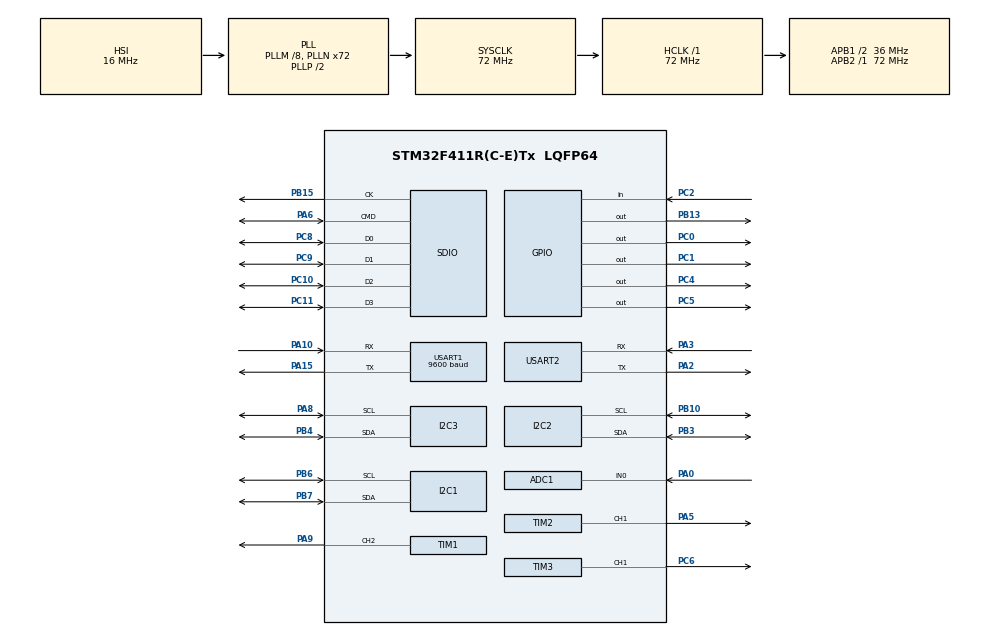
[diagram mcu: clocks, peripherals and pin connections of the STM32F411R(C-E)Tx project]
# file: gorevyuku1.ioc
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ADC1.Channel-0\#ChannelRegularConversion=ADC_CHANNEL_0
ADC1.ContinuousConvMode=ENABLE
ADC1.NbrOfConversionFlag=1
ADC1.Rank-0\#ChannelRegularConversion=1
ADC1.SamplingTime-0\#ChannelRegularConversion=ADC_SAMPLETIME_3CYCLES
ADC1.master=1
Dma.Request0=SDIO_RX
Dma.Request1=SDIO_TX
Dma.SDIO_RX.0.Direction=DMA_PERIPH_TO_MEMORY
Dma.SDIO_RX.0.FIFOMode=DMA_FIFOMODE_ENABLE
Dma.SDIO_RX.0.FIFOThreshold=DMA_FIFO_THRESHOLD_FULL
Dma.SDIO_RX.0.Instance=DMA2_Stream3
Dma.SDIO_RX.0.MemBurst=DMA_MBURST_INC4
Dma.SDIO_RX.0.MemDataAlignment=DMA_MDATAALIGN_WORD
Dma.SDIO_RX.0.MemInc=DMA_MINC_ENABLE
Dma.SDIO_RX.0.Mode=DMA_PFCTRL
Dma.SDIO_RX.0.PeriphBurst=DMA_PBURST_INC4
Dma.SDIO_RX.0.PeriphDataAlignment=DMA_PDATAALIGN_WORD
Dma.SDIO_RX.0.PeriphInc=DMA_PINC_DISABLE
Dma.SDIO_RX.0.Priority=DMA_PRIORITY_LOW
Dma.SDIO_TX.1.Direction=DMA_MEMORY_TO_PERIPH
Dma.SDIO_TX.1.FIFOMode=DMA_FIFOMODE_ENABLE
Dma.SDIO_TX.1.FIFOThreshold=DMA_FIFO_THRESHOLD_FULL
Dma.SDIO_TX.1.Instance=DMA2_Stream6
Dma.SDIO_TX.1.MemBurst=DMA_MBURST_INC4
Dma.SDIO_TX.1.MemDataAlignment=DMA_MDATAALIGN_WORD
Dma.SDIO_TX.1.MemInc=DMA_MINC_ENABLE
Dma.SDIO_TX.1.Mode=DMA_PFCTRL
Dma.SDIO_TX.1.PeriphBurst=DMA_PBURST_INC4
Dma.SDIO_TX.1.PeriphDataAlignment=DMA_PDATAALIGN_WORD
Dma.SDIO_TX.1.PeriphInc=DMA_PINC_DISABLE
Dma.SDIO_TX.1.Priority=DMA_PRIORITY_LOW
FATFS.USE_DMA_CODE_SD=1
FATFS._MAX_SS=4096
I2C1.I2C_Mode=I2C_Standard
I2C2.I2C_Mode=I2C_Standard
Mcu.Family=STM32F4
Mcu.Name=STM32F411R(C-E)Tx
Mcu.Package=LQFP64
NVIC.DMA2_Stream3_IRQn=true\:3\:3\:true\:false\:true\:false\:true\:true
NVIC.DMA2_Stream6_IRQn=true\:3\:3\:true\:false\:true\:false\:true\:true
NVIC.PriorityGroup=NVIC_PRIORITYGROUP_2
NVIC.SDIO_IRQn=true\:2\:2\:true\:false\:true\:true\:true\:true
NVIC.USART1_IRQn=true\:1\:1\:true\:false\:true\:true\:true\:true
NVIC.USART2_IRQn=true\:0\:0\:true\:false\:true\:true\:true\:true
PA0-WKUP.Signal=ADCx_IN0
PA10.Mode=Asynchronous
PA10.Signal=USART1_RX
PA13.Mode=Serial_Wire
PA13.Signal=SYS_JTMS-SWDIO
PA14.Mode=Serial_Wire
PA14.Signal=SYS_JTCK-SWCLK
PA15.Mode=Asynchronous
PA15.Signal=USART1_TX
PA2.Mode=Asynchronous
PA2.Signal=USART2_TX
PA3.Mode=Asynchronous
PA3.Signal=USART2_RX
PA5.Signal=S_TIM2_CH1_ETR
PA6.Mode=SD_4_bits_Wide_bus
PA6.Signal=SDIO_CMD
PA8.Mode=I2C
PA8.Signal=I2C3_SCL
PA9.Signal=S_TIM1_CH2
PB10.Mode=I2C
PB10.Signal=I2C2_SCL
PB13.Signal=GPIO_Output
PB15.Mode=SD_4_bits_Wide_bus
PB15.Signal=SDIO_CK
PB3.Mode=I2C
PB3.Signal=I2C2_SDA
PB4.Mode=I2C
PB4.Signal=I2C3_SDA
PB6.Mode=I2C
PB6.Signal=I2C1_SCL
PB7.Mode=I2C
PB7.Signal=I2C1_SDA
PC0.Signal=GPIO_Output
PC1.Signal=GPIO_Output
PC10.Mode=SD_4_bits_Wide_bus
PC10.Signal=SDIO_D2
PC11.Mode=SD_4_bits_Wide_bus
PC11.Signal=SDIO_D3
PC14-OSC32_IN.Mode=LSE-External-Oscillator
PC14-OSC32_IN.Signal=RCC_OSC32_IN
PC15-OSC32_OUT.Mode=LSE-External-Oscillator
PC15-OSC32_OUT.Signal=RCC_OSC32_OUT
PC2.Signal=GPIO_Input
PC4.Signal=GPIO_Output
PC5.Signal=GPIO_Output
PC6.Signal=S_TIM3_CH1
PC8.Mode=SD_4_bits_Wide_bus
PC8.Signal=SDIO_D0
PC9.Mode=SD_4_bits_Wide_bus
PC9.Signal=SDIO_D1
PH0\ -\ OSC_IN.Mode=HSE-External-Oscillator
PH0\ -\ OSC_IN.Signal=RCC_OSC_IN
PH1\ -\ OSC_OUT.Mode=HSE-External-Oscillator
PH1\ -\ OSC_OUT.Signal=RCC_OSC_OUT
ProjectManager.HeapSize=0x200
ProjectManager.StackSize=0x400
ProjectManager.TargetToolchain=STM32CubeIDE
RCC.48MHZClocksFreq_Value=48000000
RCC.AHBFreq_Value=72000000
RCC.APB1CLKDivider=RCC_HCLK_DIV2
RCC.APB1Freq_Value=36000000
RCC.APB1TimFreq_Value=72000000
RCC.APB2Freq_Value=72000000
RCC.APB2TimFreq_Value=72000000
RCC.CortexFreq_Value=72000000
RCC.HCLKFreq_Value=72000000
RCC.HSE_VALUE=25000000
RCC.HSI_VALUE=16000000
RCC.PLLM=8
RCC.PLLN=72
RCC.PLLQ=3
RCC.SYSCLKFreq_VALUE=72000000
RCC.SYSCLKSource=RCC_SYSCLKSOURCE_PLLCLK
RCC.VCOOutputFreq_Value=144000000
SH.ADCx_IN0.0=ADC1_IN0,IN0
SH.S_TIM1_CH2.0=TIM1_CH2,PWM Generation2 CH2
SH.S_TIM2_CH1_ETR.0=TIM2_CH1,PWM Generation1 CH1
SH.S_TIM3_CH1.0=TIM3_CH1,PWM Generation1 CH1
TIM1.Channel-PWM\ Generation2\ CH2=TIM_CHANNEL_2
TIM1.Period=1000-1
TIM1.Prescaler=1440-1
TIM2.Channel-PWM\ Generation1\ CH1=TIM_CHANNEL_1
TIM2.Period=1000-1
TIM2.Prescaler=1440-1
TIM3.Channel-PWM\ Generation1\ CH1=TIM_CHANNEL_1
TIM3.Period=100-1
TIM3.Prescaler=263-1
USART1.BaudRate=9600
USART1.VirtualMode=VM_ASYNC
USART2.VirtualMode=VM_ASYNC
VP_FATFS_VS_SDIO.Mode=SDIO
VP_TIM4_VS_ClockSourceINT.Mode=Internal
board=custom

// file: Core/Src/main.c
/* USER CODE BEGIN Header */
/**
 *
  ******************************************************************************
  * @file           : main.c
  * @brief          : Main program body
  ******************************************************************************
  @ATTENTION !
  * 	##Explains CubeMX Variables & IO
  *
  * 	--> ADC_HandleTypeDef hadc1;	 ==> It relates to the 	"SubSys_Sensor_Battery_Driver"
  *
  * 	--> I2C_HandleTypeDef hi2c1;   	 ==> It relates to the 	"SubSys_Sensor_TPGVH_Driver"
  * 	--> I2C_HandleTypeDef hi2c2;   	 ==> It relates to the 	"SubSys_Sensor_IMU_APP_Driver" & "SubSys_Sensor_IMU_STM32_Driver"
  *		--> I2C_HandleTypeDef hi2c3;   	 ==> It relates to the 	"SubSys_Sensor_RTC_Driver"
  *
  * 	--> SD_HandleTypeDef  hsd;	   	 ==> It relates to the 	"SubSys_SDcard_Driver"
  *		--> SDIO_CK frequency 			 ==> 48MHz fixed
  *
  * 	--> UART_HandleTypeDef huart1; 	 ==> It relates to the 	"SubSys_Sensor_GPS_Driver"
  *		--> UART_HandleTypeDef huart2; 	 ==> It relates to the 	"SubSys_WirelessCommunication_Setting_Driver" & "SubSys_WirelessCommunication_Telemetry_Driver"
  *
  *		--> TIM_HandleTypeDef htim1;  	 ==> It relates to the 	"SubSys_SeparationControl_Driver" 	& [(TIM_CHANNEL_2)]
  *		--> TIM_HandleTypeDef htim2;  	 ==> It relates to the 	"SubSys_ColorFilterControl_Driver" 	& [(TIM_CHANNEL_1)](Succes)
  *		--> TIM_HandleTypeDef htim3;  	 ==> It relates to the 	"SubSys_AlertControl_Driver" 		& [(TIM_CHANNEL_1)](Succes)
  *
  *		--> GPIO_TypeDef |PORT->B| -> |GPIO_PIN_13|			    ==>  (CAMERA SWITCH PIN)
  *
  *		--> GPIO_TypeDef |PORT->C| -> |GPIO_PIN_0|			    ==>  (GPS RST PIN)
  *								   -> |GPIO_PIN_1|&|GPIO_PIN_2| ==>  (IMU RST & INT PIN)
  *								   -> |GPIO_PIN_4|&|GPIO_PIN_5| ==>  (WirelessCom M0 & M1 CNFG PIN)
  *
  *		##Wireless Communication configuration parameters
  *
  *		Satellite Carrier Unit's adress will be 0x1923  and channel is 0x10
  *		Satellite Payload Unit's adress will be 0x1453  and channel is 0x05
  *		Satellite Ground Station adress will be 0x2023  and channel is 0x10
  *
  *
  *		##Clean Code explanation
  *		"The __CLOSED expression can be written at the end of the header guard.
  *		 If you remove this part, the related code will work and complied
  *
  *		 "The __notSuccessful , related part of the code didn't work or test
  *
  *		 Somewhere of the code has some variable that has '2' at end of the variable
  *		 as like "PAY_Pressure2", "PAY_VertHeight2".
  *		 that means these variable will be filled by Satellite's Carrier Unit
  *
  ******************************************************************************
  */
/* USER CODE END Header */
#include "main.h"
#include "fatfs.h"

/* USER CODE BEGIN Includes */
#include "SubSys_Sensor_TPGVH_Driver.h"
#include "SubSys_Sensor_Battery_Driver.h"
#include "SubSys_AlertControl_Driver.h"
#include "SubSys_SDcard_Driver.h"
#include "SubSys_Sensor_GPS_Driver.h"
#include "SubSys_WirelessCommunication_Setting_Driver.h"
#include "SubSys_WirelessCommunication_Telemetry_Driver.h"
#include "SubSys_WirelessCommunication_Telemetry_ExtractValue_Driver.h"
#include "SubSys_ARAS.h"
#include "SubSys_Sensor_RTC_Driver.h"

#include "SubSys_Actuator_Servo_Driver.h"
#include "SubSys_ColorFilterControl_Driver.h"
#include "SubSys_SeparationControl_Driver.h"

#include "SubSys_Sensor_IMU_APP_Driver.h"
#include "SubSys_Sensor_IMU_STM32_Driver.h"

#include "SubSys_Payload_FlightStatus.h"
#include "SubSys_Payload_PeriodicReattempt.h"

#include "SubSys_USART_ReceiveIT_CallBacks_Driver.h"

#include <stdlib.h>
#include <stdint.h>
/* USER CODE END Includes */

/* USER CODE BEGIN PD */
/*
	 ===============================================================================
	                      ##### DEFINITIONS #####
	 ===============================================================================
*/

	/**!
	 * Pressure Temperature Sensor (MS5611) Definitions
	 */
	#define MS5611_I2C_ADDRESS_H 0xEE		/*! CSB pin is HIGH */
	#define MS5611_I2C_ADDRESS_L 0xEC 		/*! CSB pin is LOW  */
/* USER CODE END PD */

ADC_HandleTypeDef hadc1;

I2C_HandleTypeDef hi2c1;
I2C_HandleTypeDef hi2c2;
I2C_HandleTypeDef hi2c3;

SD_HandleTypeDef hsd;
DMA_HandleTypeDef hdma_sdio_rx;
DMA_HandleTypeDef hdma_sdio_tx;

TIM_HandleTypeDef htim1;
TIM_HandleTypeDef htim2;
TIM_HandleTypeDef htim3;
TIM_HandleTypeDef htim4;

UART_HandleTypeDef huart1;
UART_HandleTypeDef huart2;

/* USER CODE BEGIN PV */
/*
	 ===============================================================================
	                      ##### MULTIPLE VARIABLE #####
	 ===============================================================================
*/

	/**!
	 * SubSys_Sensor_TPGVH_Driver variables
	 */
	MS5611_HandleTypeDef MS5611;	/*! MS5611 object					*/
	float  MS5611_Press=0.0;		/*! Pressure data variable 			*/
	float  MS5611_Temp=0.0;			/*! Temperature data variable 		*/
	float  MS5611_Altitude;			/*! Vertical Altitude data variable */
	float  MS5611_VertSpeed;		/*! Vertical Speed data variable    */
	float  MS5611_VertAcc;			/*! Vertical Acceleration variable  */
	float  MS5611_gForce;			/*! Vertical g force data variable  */
	float  SatCar_Mass;				/*! Total mass of Satellites Carrier module */

	/**!
	 * SubSys_Sensor_Battery_Driver variables
	 */
	uint8_t NumSerialBat=0;			/*! Number of serial connection battery */
	float BatteryVoltage=0.0;		/*! Voltage of the Satellite's battery  */

	/**!
	 * SubSys_Sensor_GPS_Driver variables
	 */
	float GPS_Altitude;				/*! Vertical distance info of satellite beetween */
	float GPS_Longitude;			/*! Location info of satellite on the earth 	 */
	float GPS_Latitude;				/*! Location info of satellite on the earth 	 */

	/**! We create 2 object for subsystem wireless communication,
	 * 	one of them is about configuration setting of wirelesscom device
	 * 	other one is about application object
	 */
	SubSys_WirelesscomConfig_HandleTypeDef dev_WirelessComConfig;
	SubSys_WirelessCom_APP_HandleTypeDef dev_WirelessComApp;

	/**!
	 * SubSys_Sensor_IMU_APP_Driver variables
	 */
	bno055_vector_t vectorIMU;
	float euler_roll;
	float euler_pitch;
	float euler_yaw;

	/**!
	 * SubSys_Sensor_RTC_Driver variables
	 */
	uint8_t date ;
	uint8_t month;
	uint16_t year ;
	uint8_t hour ;
	uint8_t minute;
	uint8_t second ;

	/**
	 * USB-TTL variables, collected datas are sent to Station PC
	 * (The code block has been commented out within the while loop)
	 */
	uint8_t TelemetryData[100] = { 0 };
	uint8_t WrittenBytes;

	/**!
	 * We will create two objects: one for the separation system and one for the color filtering system.
	 */
	Actuator_Servo_HandleTypeDef dev_Servo_Separation;
	Actuator_Servo_HandleTypeDef dev_Servo_ColorFilter;

/*
	 ===============================================================================
						  ##### SINGLE VARIABLE #####
	 ===============================================================================
*/

	/**
	 * 0: Ready for Launch (Before Rocket Ignition)
	 * 1: Ascent
	 * 2: Model Satellite Descent
	 * 3: Separation
	 * 4: Payload Descent
	 * 5: Recovery (Payload Ground Contact)
	 */
	uint8_t SatelliteStatus = ReadyForLaunch;	/*! First step at the beginnig */

	/**
	 * Releated byte will be ==> xxxx xxxx
	 * index:
	 * 	 	 0-> Satt. velocity is not range of 12-14 m/s.
	 * 		 1-> Payload velocity is not range of 6-8 m/s.
	 * 		 2-> Unable to get carrier pressure
	 * 		 3-> Unable to get payload location
	 * 		 4-> Autonomous separation did not occur
	 */
	uint8_t SatelliteErrorCode;

	uint8_t AutonomoSeparationStatus = Permission_NOT;	 /*! if the value is 0 that means there is no separation permission else permission is OK*/
	char ManuelSeparationCommand;	 					 /*! if the value is - that means there is no separation permission else (+) permission is OK*/

	uint32_t SystemTick;   				 /*! All system units will be work together at 1Hz*/
	uint32_t NumberOfTelePacket = 0;		 			 /*! The value is incremented by +1 at the end of each satellite operation period */

	const uint32_t Race_TeamNo = 270061; 				 /*! It is a fixed number provided by the competition organization.*/

	float PAY2CAR_DiffHeight = 0;						 /*! Vertical Height value from Satellite payload to carrier unit*/
	float CarrierPressure;								 /*! Carrier Unit's pressure data*/
	float CarrierVertHeight;							 /*! Carrier Unit's vertical height data*/
	float GroundStation_IOTTemparature;					 /*! IOT mission , gets datas from Ground Station PC */

	char command_RHRH[4];								 /*! Rakam Harf Rakam Harf receiving datas from ground station pc */

/* USER CODE END PV */

void SystemClock_Config(void);
static void MX_GPIO_Init(void);
static void MX_DMA_Init(void);
static void MX_I2C1_Init(void);
static void MX_ADC1_Init(void);
static void MX_TIM3_Init(void);
static void MX_SDIO_SD_Init(void);
static void MX_USART1_UART_Init(void);
static void MX_I2C2_Init(void);
static void MX_TIM1_Init(void);
static void MX_TIM2_Init(void);
static void MX_I2C3_Init(void);
static void MX_USART2_UART_Init(void);
static void MX_TIM4_Init(void);

int main(void)
{

  /* MCU Configuration--------------------------------------------------------*/

  /* Reset of all peripherals, Initializes the Flash interface and the Systick. */
  HAL_Init();

  /* Configure the system clock */
  SystemClock_Config();

  /* Initialize all configured peripherals */
  MX_GPIO_Init();
  MX_DMA_Init();
  MX_I2C1_Init();
  MX_ADC1_Init();
  MX_TIM3_Init();
  MX_SDIO_SD_Init();
  MX_FATFS_Init();
  MX_USART1_UART_Init();
  MX_I2C2_Init();
  MX_TIM1_Init();
  MX_TIM2_Init();
  MX_I2C3_Init();
  MX_USART2_UART_Init();
  MX_TIM4_Init();
  /* USER CODE BEGIN 2 */

  /******>>> SENSOR BATTERY INIT BEGIN >>>******/
  	#ifdef SAT_PAYLOAD_SUBSYS_DRIVERS_SENSOR_BATTERY_H__CLOSED
  	NumSerialBat = 2;	/*! Number of serial connection battery */
  	MeasBattery_Init(NumSerialBat);
  	#endif
  /******<<< SENSOR BATTERY INIT END <<<******/

  /******>>> SENSOR TPGVH INITIALIZATION BEGIN >>>******/
  	#ifdef SAT_PAYLOAD_SUBSYS_DRIVERS_SENSOR_TPGVH_H__CLOSED
  	MS5611.I2C_ADDRESS = MS5611_I2C_ADDRESS_H;
  	MS5611.i2c = &hi2c1;
  	MS5611.Ref_Alt_Sel = 'm';
  	MS5611_Init(&MS5611);
  	#endif
  /******<<< SENSOR TPGVH INITIALIZATION END <<<******/

  /******>>> ALERT CONTROL INITIALIZATION BEGIN >>>******/
	#ifdef SAT_PAYLOAD_SUBSYS_DRIVER_ALERTCONTROL_H__CLOSED
	/**!
	 * @Attention!
	 *
	 * @Calculation ==> ![Duty cycle must be %50 according to  the datasheet]
	 * 					 We sets ARR value as 100 at the beginnig
	 * 					 Frequency  = (APB Tim Clock) / ((PSC)*(ARR))
	 *					 Duty Cycle = ((CCRx/ARR)*100)
	 *
	 * APB1 Timer Clock = 50MHz
	 * PSC = 183-1
	 * ARR = 100-1
	 * PSC and ARR's parameters for 2.73KHz passive buzzer module
	 */
	PassiveBuzz_Init(&htim3, TIM_CHANNEL_1);
	#endif
  /******<<< ALERT CONTROL INITIALIZATION END <<<******/

  /******>>> SD CARD INITIALIZATION BEGIN >>>******/
	#ifdef SAT_PAYLOAD_SUBSYS_DRIVERS_SDCARD_H__CLOSED
	/*! We create a buffer that contains the satellite's variables, and we fill it with variables from SD_Data objects */
	extern char SdDatasBuf[LineSize];

	/*!(@warning)	Don't write "E:" , "e:",  "e\" */
	SD_Mount("E/", 0);

	/*
	 * @instructions :
	 * 				First of all, We create a directiory as named "SAT_CAR",
	 * 				Secondly give a name for system txt document as named "STM32.TXT"
	 * 				Finally put our variable buffer
	 *
	 * @Attention!   : If you use lowercase letters, this function will reverse the name to uppercase letters as given below
	 * 					(e.g)CAR_Raw ==> CAR_RAW
	 */
	SD_Create_Dir_File("SAT_CAR", "SAT_CAR/STM32.TXT", SdDatasBuf);
	#endif
  /******<<< SD CARD INITIALIZATION END <<<******/

  /******>>> SENSOR GPS INITIALIZATION BEGIN >>>******/
	#ifdef SAT_PAYLOAD_SUBSYS_DRIVERS_SENSOR_GPS_H__CLOSED
	HAL_GPIO_WritePin(GPIOC, GPIO_PIN_0, GPIO_PIN_SET);
	GPS_Init();
	HAL_GPIO_WritePin(GPIOC, GPIO_PIN_0, GPIO_PIN_RESET);
	#endif
  /******<<< SENSOR GPS INITIALIZATION END <<<******/

  /******>>> WIRELESS COMMUNICATION SETTING & TELEMETRY INITIALIZATION BEGIN >>>******/
	/**
	 * @brief : First of all, we upload initial settings into the wireless communication device.
	 * 		  After that, we determine Target Address high and low byte and Target Channel.
	 * 		  Some LoRa module has two pin as named M0 and M1. These provides selecting working mode
	 * 		  For E220400T30 are M0 and M1 pins.
	 * @note  : If you use dma for receiving and transmiting, fill it parameters that
	 *		  come after channel info
	 */
	 #ifdef SAT_PAYLOAD_SUBSYS_DRIVERS_WIRELESSCOMMUNICATION_SETTING_H__CLOSED
	 dev_WirelessComConfig.interface.huart = &huart2;
	 dev_WirelessComConfig.interface.GPIOx = GPIOB;
	 dev_WirelessComConfig.LORA_PIN_M0= GPIO_PIN_14;
	 dev_WirelessComConfig.LORA_PIN_M1= GPIO_PIN_13;
	 dev_WirelessComConfig.Mode_SW = DeepSleep; 		/*! Module goes to sleep, that provides you to configure settings */

	 SubSys_WirelessCom_Config_Init(&dev_WirelessComConfig);
	 #endif

	 #ifdef SAT_PAYLOAD_SUBSYS_DRIVERS_WIRELESSCOMMUNICATION_TELEMETRY_H__CLOSED
	 /*! Will be filled for your dev that use now*/
	 dev_WirelessComApp.huartX = &huart2;
	 dev_WirelessComConfig.Mode_SW = NormalMode; 		/*! UART and wireless channel are open, transparent transmission is on*/
	 SubSys_WirelessCom_Config_WORK_MODE(&dev_WirelessComConfig);

	 /*! Will be filled for the Ground Station(Target) Device */
	 dev_WirelessComApp.Target_ADDH = 0x20;
	 dev_WirelessComApp.Target_ADDL = 0x23;
	 dev_WirelessComApp.Target_Ch   = 0x10;

	  /*! Interrupt is active for receiving wireless data
	   * You need to cast variable type from char to uint8_t because of the instruction of Uart Receive function*/
	  HAL_UART_Receive_IT(dev_WirelessComApp.huartX, (uint8_t *)dev_WirelessComApp.Buffer.Rx, sizeof(dev_WirelessComApp.Buffer.Rx));

	 #endif
  /******<<< WIRELESS COMMUNICATION SETTING & TELEMETRY INITIALIZATION END <<<******/

  /******>>> SENSOR IMU  INITIALIZATION BEGIN >>>******/
	#ifdef SAT_PAYLOAD_SUBSYS_DRIVERS_SENSOR_IMU_APP_H

	 //*! BNO055 OR MPU9250 IMU SENSOR WİLL BE USED*//
	bno055_assignI2C(&hi2c2);
	bno055_setup();
	bno055_setOperationModeNDOF();
	#endif
  /******<<< SENSOR IMU INITIALIZATION END <<<******/

	/******>>> SERVO SYSTEM INITIALIZATION BEGIN >>>******/
#ifdef SAT_PAYLOAD_SUBSYS_DRIVERS_ACTUATOR_SERVO_H__CLOSED

	/*! Separation system Servo control parameters*/
	dev_Servo_Separation.htim_X 		= &htim1;
	dev_Servo_Separation.tim_channel_in = TIM_CHANNEL_2;
	SubSys_Actuator_Servo_Init(&dev_Servo_Separation);

	#ifdef SAT_PAYLOAD_SUBSYS_DRIVERS_ACTUATOR_SERVO_SEPARATION_TEST_STATUS__CLOSED
		SubSys_Actuator_Servo_MoveTo(&dev_Servo_Separation, 0);
		SubSys_Actuator_Servo_MoveTo(&dev_Servo_Separation, 45);
		SubSys_Actuator_Servo_MoveTo(&dev_Servo_Separation, 90);
		SubSys_Actuator_Servo_MoveTo(&dev_Servo_Separation, 135);
		SubSys_Actuator_Servo_MoveTo(&dev_Servo_Separation, 180);
	#endif

	/*! Color Filtering system Servo control parameters*/
	/*! Succes */
	dev_Servo_ColorFilter.htim_X = &htim2;
	dev_Servo_ColorFilter.tim_channel_in = TIM_CHANNEL_1;
	SubSys_Actuator_Servo_Init(&dev_Servo_ColorFilter);

	#ifdef SAT_PAYLOAD_SUBSYS_DRIVERS_ACTUATOR_SERVO_COLORFILTER_TEST_STATUS__CLOSED
		SubSys_Actuator_Servo_MoveTo(&dev_Servo_ColorFilter, 0);
		SubSys_Actuator_Servo_MoveTo(&dev_Servo_ColorFilter, 45);
		SubSys_Actuator_Servo_MoveTo(&dev_Servo_ColorFilter, 90);
		SubSys_Actuator_Servo_MoveTo(&dev_Servo_ColorFilter, 135);
		SubSys_Actuator_Servo_MoveTo(&dev_Servo_ColorFilter, 180);
	#endif

#endif
	/******<<< SERVO SYSTEM INITIALIZATION END <<<******/

	/******>>> RTC SYSTEM INITIALIZATION BEGIN >>>******/
	#ifdef SAT_PAYLOAD_SUBSYS_DRIVERS_SENSOR_RTC_H___CLOSED

		/*! Config i2c terminal and start the RTC */
		DS1307_Init(&hi2c3);

		/*! The code block required to set the date and time.*/
		#ifdef SAT_PAYLOAD_RTC_CONFIG_PERMISSION_HEADERGUARD
		DS1307_SetTimeZone(+3, 00);
		DS1307_SetDate(5);
		DS1307_SetMonth(7);
		DS1307_SetYear(2024);
		DS1307_SetHour(21);
		DS1307_SetMinute(56);
		DS1307_SetSecond(48);
		#endif

	#endif
	/******<<< RTC SYSTEML INITIALIZATION END <<<******/

	/******>>> SEPARATION CONTROL INITIALIZATION BEGIN >>>******/
	#ifdef SAT_PAYLOAD_SUBSYS_DRIVERS_SEPARATION_CONTROL_H__CLOSED
		HAL_Delay(5000);
		SubSys_SeparationMechanism_Lock_PayloadToCarrier();
	#endif
	/******<<< SEPARATION CONTROL INITIALIZATION END <<<******/

	/******>>> COLOR FILTER CONTROL INITIALIZATION BEGIN >>>******/
	#ifdef SAT_PAYLOAD_SUBSYS_DRIVERS_COLORFILTER_CONTROL_H__CLOSED
		/*! Will be added init code block in here */
		SubSys_ColorFilterMechanism_TurnTo(Filter_None);

		#ifdef SAT_PAYLOAD_SUBSYS_DRIVERS_COLORFILTER_CONTROL_TEST_STATUS__CLOSED
		SubSys_ColorFilterMechanism_TurnTo(Filter_None);
		SubSys_ColorFilterMechanism_TurnTo(filter_Red);
		SubSys_ColorFilterMechanism_TurnTo(filter_Green);
		SubSys_ColorFilterMechanism_TurnTo(filter_Blue);
		#endif

	#endif
	/******<<< COLOR FILTER CONTROL INITIALIZATION END <<<******/

	/******>>> CAMERA ACTIVE INITIALIZATION BEGIN >>>******/
	 //HAL_GPIO_WritePin(GPIOB, GPIO_PIN_13, GPIO_PIN_SET);
	/******<<< CAMERA ACTIVE INITIALIZATION END <<<******/

  /* USER CODE END 2 */

  /* Infinite loop */
  /* USER CODE BEGIN WHILE */
  while (1)
  {

	 SubSys_SatelliteMission_Continue();

    /* USER CODE END WHILE */

  }
}

void SystemClock_Config(void)
{
  RCC_OscInitTypeDef RCC_OscInitStruct = {0};
  RCC_ClkInitTypeDef RCC_ClkInitStruct = {0};

  /** Configure the main internal regulator output voltage
  */
  __HAL_RCC_PWR_CLK_ENABLE();
  __HAL_PWR_VOLTAGESCALING_CONFIG(PWR_REGULATOR_VOLTAGE_SCALE1);

  /** Initializes the RCC Oscillators according to the specified parameters
  * in the RCC_OscInitTypeDef structure.
  */
  RCC_OscInitStruct.OscillatorType = RCC_OSCILLATORTYPE_HSI;
  RCC_OscInitStruct.HSIState = RCC_HSI_ON;
  RCC_OscInitStruct.HSICalibrationValue = RCC_HSICALIBRATION_DEFAULT;
  RCC_OscInitStruct.PLL.PLLState = RCC_PLL_ON;
  RCC_OscInitStruct.PLL.PLLSource = RCC_PLLSOURCE_HSI;
  RCC_OscInitStruct.PLL.PLLM = 8;
  RCC_OscInitStruct.PLL.PLLN = 72;
  RCC_OscInitStruct.PLL.PLLP = RCC_PLLP_DIV2;
  RCC_OscInitStruct.PLL.PLLQ = 3;
  if (HAL_RCC_OscConfig(&RCC_OscInitStruct) != HAL_OK)
  {
    Error_Handler();
  }

  /** Initializes the CPU, AHB and APB buses clocks
  */
  RCC_ClkInitStruct.ClockType = RCC_CLOCKTYPE_HCLK|RCC_CLOCKTYPE_SYSCLK
                              |RCC_CLOCKTYPE_PCLK1|RCC_CLOCKTYPE_PCLK2;
  RCC_ClkInitStruct.SYSCLKSource = RCC_SYSCLKSOURCE_PLLCLK;
  RCC_ClkInitStruct.AHBCLKDivider = RCC_SYSCLK_DIV1;
  RCC_ClkInitStruct.APB1CLKDivider = RCC_HCLK_DIV2;
  RCC_ClkInitStruct.APB2CLKDivider = RCC_HCLK_DIV1;

  if (HAL_RCC_ClockConfig(&RCC_ClkInitStruct, FLASH_LATENCY_2) != HAL_OK)
  {
    Error_Handler();
  }
}

static void MX_ADC1_Init(void)
{

  ADC_ChannelConfTypeDef sConfig = {0};

  /** Configure the global features of the ADC (Clock, Resolution, Data Alignment and number of conversion)
  */
  hadc1.Instance = ADC1;
  hadc1.Init.ClockPrescaler = ADC_CLOCK_SYNC_PCLK_DIV2;
  hadc1.Init.Resolution = ADC_RESOLUTION_12B;
  hadc1.Init.ScanConvMode = DISABLE;
  hadc1.Init.ContinuousConvMode = ENABLE;
  hadc1.Init.DiscontinuousConvMode = DISABLE;
  hadc1.Init.ExternalTrigConvEdge = ADC_EXTERNALTRIGCONVEDGE_NONE;
  hadc1.Init.ExternalTrigConv = ADC_SOFTWARE_START;
  hadc1.Init.DataAlign = ADC_DATAALIGN_RIGHT;
  hadc1.Init.NbrOfConversion = 1;
  hadc1.Init.DMAContinuousRequests = DISABLE;
  hadc1.Init.EOCSelection = ADC_EOC_SINGLE_CONV;
  if (HAL_ADC_Init(&hadc1) != HAL_OK)
  {
    Error_Handler();
  }

  /** Configure for the selected ADC regular channel its corresponding rank in the sequencer and its sample time.
  */
  sConfig.Channel = ADC_CHANNEL_0;
  sConfig.Rank = 1;
  sConfig.SamplingTime = ADC_SAMPLETIME_3CYCLES;
  if (HAL_ADC_ConfigChannel(&hadc1, &sConfig) != HAL_OK)
  {
    Error_Handler();
  }

}

static void MX_I2C1_Init(void)
{

  hi2c1.Instance = I2C1;
  hi2c1.Init.ClockSpeed = 100000;
  hi2c1.Init.DutyCycle = I2C_DUTYCYCLE_2;
  hi2c1.Init.OwnAddress1 = 0;
  hi2c1.Init.AddressingMode = I2C_ADDRESSINGMODE_7BIT;
  hi2c1.Init.DualAddressMode = I2C_DUALADDRESS_DISABLE;
  hi2c1.Init.OwnAddress2 = 0;
  hi2c1.Init.GeneralCallMode = I2C_GENERALCALL_DISABLE;
  hi2c1.Init.NoStretchMode = I2C_NOSTRETCH_DISABLE;
  if (HAL_I2C_Init(&hi2c1) != HAL_OK)
  {
    Error_Handler();
  }

}

static void MX_I2C2_Init(void)
{

  hi2c2.Instance = I2C2;
  hi2c2.Init.ClockSpeed = 100000;
  hi2c2.Init.DutyCycle = I2C_DUTYCYCLE_2;
  hi2c2.Init.OwnAddress1 = 0;
  hi2c2.Init.AddressingMode = I2C_ADDRESSINGMODE_7BIT;
  hi2c2.Init.DualAddressMode = I2C_DUALADDRESS_DISABLE;
  hi2c2.Init.OwnAddress2 = 0;
  hi2c2.Init.GeneralCallMode = I2C_GENERALCALL_DISABLE;
  hi2c2.Init.NoStretchMode = I2C_NOSTRETCH_DISABLE;
  if (HAL_I2C_Init(&hi2c2) != HAL_OK)
  {
    Error_Handler();
  }

}

static void MX_I2C3_Init(void)
{

  hi2c3.Instance = I2C3;
  hi2c3.Init.ClockSpeed = 100000;
  hi2c3.Init.DutyCycle = I2C_DUTYCYCLE_2;
  hi2c3.Init.OwnAddress1 = 0;
  hi2c3.Init.AddressingMode = I2C_ADDRESSINGMODE_7BIT;
  hi2c3.Init.DualAddressMode = I2C_DUALADDRESS_DISABLE;
  hi2c3.Init.OwnAddress2 = 0;
  hi2c3.Init.GeneralCallMode = I2C_GENERALCALL_DISABLE;
  hi2c3.Init.NoStretchMode = I2C_NOSTRETCH_DISABLE;
  if (HAL_I2C_Init(&hi2c3) != HAL_OK)
  {
    Error_Handler();
  }

}

static void MX_SDIO_SD_Init(void)
{

  hsd.Instance = SDIO;
  hsd.Init.ClockEdge = SDIO_CLOCK_EDGE_RISING;
  hsd.Init.ClockBypass = SDIO_CLOCK_BYPASS_DISABLE;
  hsd.Init.ClockPowerSave = SDIO_CLOCK_POWER_SAVE_DISABLE;
  hsd.Init.BusWide = SDIO_BUS_WIDE_4B;
  hsd.Init.HardwareFlowControl = SDIO_HARDWARE_FLOW_CONTROL_DISABLE;
  hsd.Init.ClockDiv = 0;

}

static void MX_TIM1_Init(void)
{

  TIM_MasterConfigTypeDef sMasterConfig = {0};
  TIM_OC_InitTypeDef sConfigOC = {0};
  TIM_BreakDeadTimeConfigTypeDef sBreakDeadTimeConfig = {0};

  htim1.Instance = TIM1;
  htim1.Init.Prescaler = 1440-1;
  htim1.Init.CounterMode = TIM_COUNTERMODE_UP;
  htim1.Init.Period = 1000-1;
  htim1.Init.ClockDivision = TIM_CLOCKDIVISION_DIV1;
  htim1.Init.RepetitionCounter = 0;
  htim1.Init.AutoReloadPreload = TIM_AUTORELOAD_PRELOAD_DISABLE;
  if (HAL_TIM_PWM_Init(&htim1) != HAL_OK)
  {
    Error_Handler();
  }
  sMasterConfig.MasterOutputTrigger = TIM_TRGO_RESET;
  sMasterConfig.MasterSlaveMode = TIM_MASTERSLAVEMODE_DISABLE;
  if (HAL_TIMEx_MasterConfigSynchronization(&htim1, &sMasterConfig) != HAL_OK)
  {
    Error_Handler();
  }
  sConfigOC.OCMode = TIM_OCMODE_PWM1;
  sConfigOC.Pulse = 0;
  sConfigOC.OCPolarity = TIM_OCPOLARITY_HIGH;
  sConfigOC.OCNPolarity = TIM_OCNPOLARITY_HIGH;
  sConfigOC.OCFastMode = TIM_OCFAST_DISABLE;
  sConfigOC.OCIdleState = TIM_OCIDLESTATE_RESET;
  sConfigOC.OCNIdleState = TIM_OCNIDLESTATE_RESET;
  if (HAL_TIM_PWM_ConfigChannel(&htim1, &sConfigOC, TIM_CHANNEL_2) != HAL_OK)
  {
    Error_Handler();
  }
  sBreakDeadTimeConfig.OffStateRunMode = TIM_OSSR_DISABLE;
  sBreakDeadTimeConfig.OffStateIDLEMode = TIM_OSSI_DISABLE;
  sBreakDeadTimeConfig.LockLevel = TIM_LOCKLEVEL_OFF;
  sBreakDeadTimeConfig.DeadTime = 0;
  sBreakDeadTimeConfig.BreakState = TIM_BREAK_DISABLE;
  sBreakDeadTimeConfig.BreakPolarity = TIM_BREAKPOLARITY_HIGH;
  sBreakDeadTimeConfig.AutomaticOutput = TIM_AUTOMATICOUTPUT_DISABLE;
  if (HAL_TIMEx_ConfigBreakDeadTime(&htim1, &sBreakDeadTimeConfig) != HAL_OK)
  {
    Error_Handler();
  }
  HAL_TIM_MspPostInit(&htim1);

}

static void MX_TIM2_Init(void)
{

  TIM_MasterConfigTypeDef sMasterConfig = {0};
  TIM_OC_InitTypeDef sConfigOC = {0};

  htim2.Instance = TIM2;
  htim2.Init.Prescaler = 1440-1;
  htim2.Init.CounterMode = TIM_COUNTERMODE_UP;
  htim2.Init.Period = 1000-1;
  htim2.Init.ClockDivision = TIM_CLOCKDIVISION_DIV1;
  htim2.Init.AutoReloadPreload = TIM_AUTORELOAD_PRELOAD_DISABLE;
  if (HAL_TIM_PWM_Init(&htim2) != HAL_OK)
  {
    Error_Handler();
  }
  sMasterConfig.MasterOutputTrigger = TIM_TRGO_RESET;
  sMasterConfig.MasterSlaveMode = TIM_MASTERSLAVEMODE_DISABLE;
  if (HAL_TIMEx_MasterConfigSynchronization(&htim2, &sMasterConfig) != HAL_OK)
  {
    Error_Handler();
  }
  sConfigOC.OCMode = TIM_OCMODE_PWM1;
  sConfigOC.Pulse = 0;
  sConfigOC.OCPolarity = TIM_OCPOLARITY_HIGH;
  sConfigOC.OCFastMode = TIM_OCFAST_DISABLE;
  if (HAL_TIM_PWM_ConfigChannel(&htim2, &sConfigOC, TIM_CHANNEL_1) != HAL_OK)
  {
    Error_Handler();
  }
  HAL_TIM_MspPostInit(&htim2);

}

static void MX_TIM3_Init(void)
{

  TIM_MasterConfigTypeDef sMasterConfig = {0};
  TIM_OC_InitTypeDef sConfigOC = {0};

  htim3.Instance = TIM3;
  htim3.Init.Prescaler = 263-1;
  htim3.Init.CounterMode = TIM_COUNTERMODE_UP;
  htim3.Init.Period = 100-1;
  htim3.Init.ClockDivision = TIM_CLOCKDIVISION_DIV1;
  htim3.Init.AutoReloadPreload = TIM_AUTORELOAD_PRELOAD_DISABLE;
  if (HAL_TIM_PWM_Init(&htim3) != HAL_OK)
  {
    Error_Handler();
  }
  sMasterConfig.MasterOutputTrigger = TIM_TRGO_RESET;
  sMasterConfig.MasterSlaveMode = TIM_MASTERSLAVEMODE_DISABLE;
  if (HAL_TIMEx_MasterConfigSynchronization(&htim3, &sMasterConfig) != HAL_OK)
  {
    Error_Handler();
  }
  sConfigOC.OCMode = TIM_OCMODE_PWM1;
  sConfigOC.Pulse = 0;
  sConfigOC.OCPolarity = TIM_OCPOLARITY_HIGH;
  sConfigOC.OCFastMode = TIM_OCFAST_DISABLE;
  if (HAL_TIM_PWM_ConfigChannel(&htim3, &sConfigOC, TIM_CHANNEL_1) != HAL_OK)
  {
    Error_Handler();
  }
  HAL_TIM_MspPostInit(&htim3);

}

static void MX_TIM4_Init(void)
{

  TIM_ClockConfigTypeDef sClockSourceConfig = {0};
  TIM_MasterConfigTypeDef sMasterConfig = {0};

  htim4.Instance = TIM4;
  htim4.Init.Prescaler = 0;
  htim4.Init.CounterMode = TIM_COUNTERMODE_UP;
  htim4.Init.Period = 65535;
  htim4.Init.ClockDivision = TIM_CLOCKDIVISION_DIV1;
  htim4.Init.AutoReloadPreload = TIM_AUTORELOAD_PRELOAD_DISABLE;
  if (HAL_TIM_Base_Init(&htim4) != HAL_OK)
  {
    Error_Handler();
  }
  sClockSourceConfig.ClockSource = TIM_CLOCKSOURCE_INTERNAL;
  if (HAL_TIM_ConfigClockSource(&htim4, &sClockSourceConfig) != HAL_OK)
  {
    Error_Handler();
  }
  sMasterConfig.MasterOutputTrigger = TIM_TRGO_RESET;
  sMasterConfig.MasterSlaveMode = TIM_MASTERSLAVEMODE_DISABLE;
  if (HAL_TIMEx_MasterConfigSynchronization(&htim4, &sMasterConfig) != HAL_OK)
  {
    Error_Handler();
  }

}

static void MX_USART1_UART_Init(void)
{

  huart1.Instance = USART1;
  huart1.Init.BaudRate = 9600;
  huart1.Init.WordLength = UART_WORDLENGTH_8B;
  huart1.Init.StopBits = UART_STOPBITS_1;
  huart1.Init.Parity = UART_PARITY_NONE;
  huart1.Init.Mode = UART_MODE_TX_RX;
  huart1.Init.HwFlowCtl = UART_HWCONTROL_NONE;
  huart1.Init.OverSampling = UART_OVERSAMPLING_16;
  if (HAL_UART_Init(&huart1) != HAL_OK)
  {
    Error_Handler();
  }

}

static void MX_USART2_UART_Init(void)
{

  huart2.Instance = USART2;
  huart2.Init.BaudRate = 115200;
  huart2.Init.WordLength = UART_WORDLENGTH_8B;
  huart2.Init.StopBits = UART_STOPBITS_1;
  huart2.Init.Parity = UART_PARITY_NONE;
  huart2.Init.Mode = UART_MODE_TX_RX;
  huart2.Init.HwFlowCtl = UART_HWCONTROL_NONE;
  huart2.Init.OverSampling = UART_OVERSAMPLING_16;
  if (HAL_UART_Init(&huart2) != HAL_OK)
  {
    Error_Handler();
  }

}

static void MX_DMA_Init(void)
{

  /* DMA controller clock enable */
  __HAL_RCC_DMA2_CLK_ENABLE();

  /* DMA interrupt init */
  /* DMA2_Stream3_IRQn interrupt configuration */
  HAL_NVIC_SetPriority(DMA2_Stream3_IRQn, 3, 3);
  HAL_NVIC_EnableIRQ(DMA2_Stream3_IRQn);
  /* DMA2_Stream6_IRQn interrupt configuration */
  HAL_NVIC_SetPriority(DMA2_Stream6_IRQn, 3, 3);
  HAL_NVIC_EnableIRQ(DMA2_Stream6_IRQn);

}

static void MX_GPIO_Init(void)
{
  GPIO_InitTypeDef GPIO_InitStruct = {0};

  /* GPIO Ports Clock Enable */
  __HAL_RCC_GPIOC_CLK_ENABLE();
  __HAL_RCC_GPIOH_CLK_ENABLE();
  __HAL_RCC_GPIOA_CLK_ENABLE();
  __HAL_RCC_GPIOB_CLK_ENABLE();

  /*Configure GPIO pin Output Level */
  HAL_GPIO_WritePin(GPIOC, GPIO_PIN_0|GPIO_PIN_1|GPIO_PIN_4|GPIO_PIN_5, GPIO_PIN_RESET);

  /*Configure GPIO pin Output Level */
  HAL_GPIO_WritePin(GPIOB, GPIO_PIN_13, GPIO_PIN_RESET);

  /*Configure GPIO pins : PC0 PC1 PC4 PC5 */
  GPIO_InitStruct.Pin = GPIO_PIN_0|GPIO_PIN_1|GPIO_PIN_4|GPIO_PIN_5;
  GPIO_InitStruct.Mode = GPIO_MODE_OUTPUT_PP;
  GPIO_InitStruct.Pull = GPIO_NOPULL;
  GPIO_InitStruct.Speed = GPIO_SPEED_FREQ_LOW;
  HAL_GPIO_Init(GPIOC, &GPIO_InitStruct);

  /*Configure GPIO pin : PC2 */
  GPIO_InitStruct.Pin = GPIO_PIN_2;
  GPIO_InitStruct.Mode = GPIO_MODE_INPUT;
  GPIO_InitStruct.Pull = GPIO_NOPULL;
  HAL_GPIO_Init(GPIOC, &GPIO_InitStruct);

  /*Configure GPIO pin : PB13 */
  GPIO_InitStruct.Pin = GPIO_PIN_13;
  GPIO_InitStruct.Mode = GPIO_MODE_OUTPUT_PP;
  GPIO_InitStruct.Pull = GPIO_NOPULL;
  GPIO_InitStruct.Speed = GPIO_SPEED_FREQ_LOW;
  HAL_GPIO_Init(GPIOB, &GPIO_InitStruct);

}

void Error_Handler(void)
{
  __disable_irq();
  while (1)
  {
  }
}
